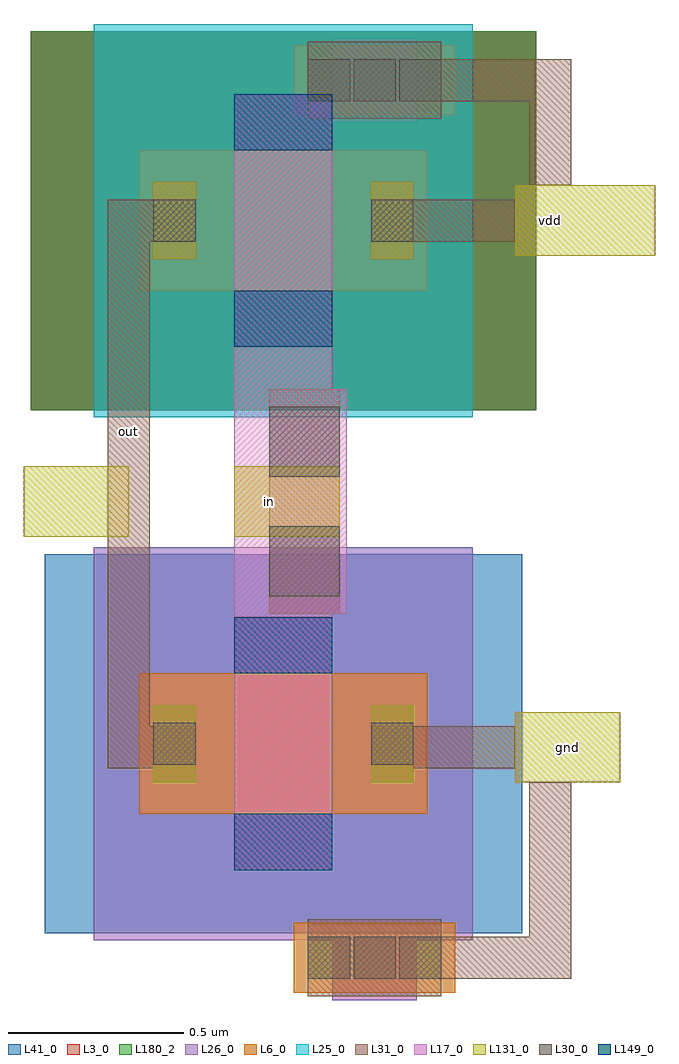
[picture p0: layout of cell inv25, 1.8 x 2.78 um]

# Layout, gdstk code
import gdstk
lib = gdstk.Library(unit=1e-6, precision=1e-09)
def R(c, l, rs):  # rectangles x0, y0, x1, y1
    for r in rs: c.add(gdstk.rectangle(r[:2], r[2:], *l))
L3_0 = (3, 0)
L6_0 = (6, 0)
L17_0 = (17, 0)
L25_0 = (25, 0)
L26_0 = (26, 0)
L30_0 = (30, 0)
L31_0 = (31, 0)
L41_0 = (41, 0)
L131_0 = (131, 0)
L149_0 = (149, 0)
L180_2 = (180, 2)

pc_ct = lib.new_cell('pc_ct')
R(pc_ct, L30_0, [(0,0,0.12,0.12)])

psvt25_cdns_568164974150 = lib.new_cell('psvt25_CDNS_568164974150')
R(psvt25_cdns_568164974150, L3_0, [(-0.58,-0.34,0.86,0.74)])
R(psvt25_cdns_568164974150, L6_0, [(-0.27,0,0,0.4), (-0.27,0,0.55,0.4), (0.28,0,0.55,0.4)])
R(psvt25_cdns_568164974150, L17_0, [(0,-0.16,0.28,0.56)])
R(psvt25_cdns_568164974150, L25_0, [(-0.4,-0.36,0.68,0.76)])
R(psvt25_cdns_568164974150, L31_0, [(-0.23,0.09,-0.11,0.31), (0.39,0.09,0.51,0.31)])
R(psvt25_cdns_568164974150, L41_0, [(-0.58,-0.34,0.86,0.74)])
R(psvt25_cdns_568164974150, L131_0, [(-0.23,0.09,-0.11,0.31), (0.39,0.09,0.51,0.31)])
R(psvt25_cdns_568164974150, L149_0, [(0,-0.16,0.28,0), (0,0.4,0.28,0.56)])
R(psvt25_cdns_568164974150, L180_2, [(-0.58,-0.34,0.86,0.74)])
r = gdstk.Reference(pc_ct, (0.39,0.14)); r.repetition = gdstk.Repetition(1, 1, v1=(0.26,0), v2=(0,0.26)); psvt25_cdns_568164974150.add(r)
r = gdstk.Reference(pc_ct, (-0.23,0.14)); r.repetition = gdstk.Repetition(1, 1, v1=(0.26,0), v2=(0,0.26)); psvt25_cdns_568164974150.add(r)
psvt25_cdns_568164974150.add(gdstk.Label('d', (0.415,0.2), layer=127, texttype=0))
psvt25_cdns_568164974150.add(gdstk.Label('s', (-0.135,0.2), layer=127, texttype=0))

nsvt25_cdns_568164974151 = lib.new_cell('nsvt25_CDNS_568164974151')
R(nsvt25_cdns_568164974151, L6_0, [(-0.27,0,0,0.4), (-0.27,0,0.55,0.4), (0.28,0,0.55,0.4)])
R(nsvt25_cdns_568164974151, L17_0, [(0,-0.16,0.28,0.56)])
R(nsvt25_cdns_568164974151, L26_0, [(-0.4,-0.36,0.68,0.76)])
R(nsvt25_cdns_568164974151, L31_0, [(-0.23,0.09,-0.11,0.31), (0.39,0.09,0.51,0.31)])
R(nsvt25_cdns_568164974151, L41_0, [(-0.54,-0.34,0.82,0.74)])
R(nsvt25_cdns_568164974151, L131_0, [(-0.23,0.09,-0.11,0.31), (0.39,0.09,0.51,0.31)])
R(nsvt25_cdns_568164974151, L149_0, [(0,-0.16,0.28,0), (0,0.4,0.28,0.56)])
r = gdstk.Reference(pc_ct, (0.39,0.14)); r.repetition = gdstk.Repetition(1, 1, v1=(0.26,0), v2=(0,0.26)); nsvt25_cdns_568164974151.add(r)
r = gdstk.Reference(pc_ct, (-0.23,0.14)); r.repetition = gdstk.Repetition(1, 1, v1=(0.26,0), v2=(0,0.26)); nsvt25_cdns_568164974151.add(r)
nsvt25_cdns_568164974151.add(gdstk.Label('d', (0.415,0.2), layer=127, texttype=0))
nsvt25_cdns_568164974151.add(gdstk.Label('s', (-0.135,0.2), layer=127, texttype=0))

m1__po_cdns_568164974150 = lib.new_cell('M1__PO_CDNS_568164974150')
R(m1__po_cdns_568164974150, L17_0, [(-0.12,-0.32,0.12,0.32)])
R(m1__po_cdns_568164974150, L30_0, [(-0.1,-0.27,0.1,-0.07), (-0.1,0.07,0.1,0.27)])
R(m1__po_cdns_568164974150, L31_0, [(-0.1,-0.32,0.1,0.32)])

m1__od_cdns_568164974151 = lib.new_cell('M1__OD_CDNS_568164974151')
R(m1__od_cdns_568164974151, L6_0, [(-0.23,-0.1,0.23,0.1)])
R(m1__od_cdns_568164974151, L30_0, [(-0.19,-0.06,-0.07,0.06), (0.07,-0.06,0.19,0.06)])
R(m1__od_cdns_568164974151, L31_0, [(-0.19,-0.11,0.19,0.11)])

n_tap_cdns_568164974152 = lib.new_cell('N_TAP_CDNS_568164974152')
R(n_tap_cdns_568164974152, L6_0, [(-0.06,-0.06,0.06,0.06)])
R(n_tap_cdns_568164974152, L26_0, [(-0.12,-0.12,0.12,0.12)])
R(n_tap_cdns_568164974152, L30_0, [(-0.06,-0.06,0.06,0.06)])
R(n_tap_cdns_568164974152, L31_0, [(-0.06,-0.06,0.06,0.06)])

inv25 = lib.new_cell('inv25')
R(inv25, L17_0, [(0.4,0.97,0.68,1.74)])
R(inv25, L131_0, [(1.2,0.5,1.5,0.7), (-0.2,1.2,0.1,1.4), (0.4,1.2,0.7,1.4), (1.2,2,1.6,2.2)])
inv25.add(gdstk.FlexPath([(1.3,2.5),(1.3,2.2)], 0.12, ends=(0.06, 0), simple_path=True, layer=31, datatype=0))  # L31_0
inv25.add(gdstk.FlexPath([(0.8,2.5),(1.3,2.5)], 0.12, ends=(0, 0.06), simple_path=True, layer=31, datatype=0))  # L31_0
inv25.add(gdstk.FlexPath([(1.3,0),(1.3,0.5)], 0.12, ends=(0.06, 0), simple_path=True, layer=31, datatype=0))  # L31_0
inv25.add(gdstk.FlexPath([(0.8,0),(1.3,0)], 0.12, ends=(0, 0.06), simple_path=True, layer=31, datatype=0))  # L31_0
inv25.add(gdstk.FlexPath([(0.9,0.6),(1.2,0.6)], 0.12, ends="flush", simple_path=True, layer=31, datatype=0))  # L31_0
inv25.add(gdstk.FlexPath([(0.9,2.1),(1.2,2.1)], 0.12, ends="flush", simple_path=True, layer=31, datatype=0))  # L31_0
inv25.add(gdstk.FlexPath([(0.1,0.6),(0.2,0.6)], 0.12, ends=(0.06, 0), simple_path=True, layer=31, datatype=0))  # L31_0
inv25.add(gdstk.FlexPath([(0.1,2.1),(0.1,0.6)], 0.12, ends="extended", simple_path=True, layer=31, datatype=0))  # L31_0
inv25.add(gdstk.FlexPath([(0.2,2.1),(0.1,2.1)], 0.12, ends=(0, 0.06), simple_path=True, layer=31, datatype=0))  # L31_0
inv25.add(gdstk.Reference(psvt25_cdns_568164974150, (0.4,1.9)))
inv25.add(gdstk.Reference(nsvt25_cdns_568164974151, (0.4,0.41)))
inv25.add(gdstk.Reference(m1__po_cdns_568164974150, (0.6,1.3)))
inv25.add(gdstk.Reference(m1__od_cdns_568164974151, (0.8,0)))
inv25.add(gdstk.Reference(m1__od_cdns_568164974151, (0.8,2.5)))
inv25.add(gdstk.Reference(n_tap_cdns_568164974152, (0.8,2.5)))
inv25.add(gdstk.Reference(n_tap_cdns_568164974152, (0.8,0)))
inv25.add(gdstk.Label('in', (0.5,1.3), layer=131, texttype=0))
inv25.add(gdstk.Label('out', (0.1,1.5), layer=131, texttype=0))
inv25.add(gdstk.Label('vdd', (1.3,2.1), layer=131, texttype=0))
inv25.add(gdstk.Label('gnd', (1.35,0.6), layer=131, texttype=0))

lib.write_gds('inv25.gds')
